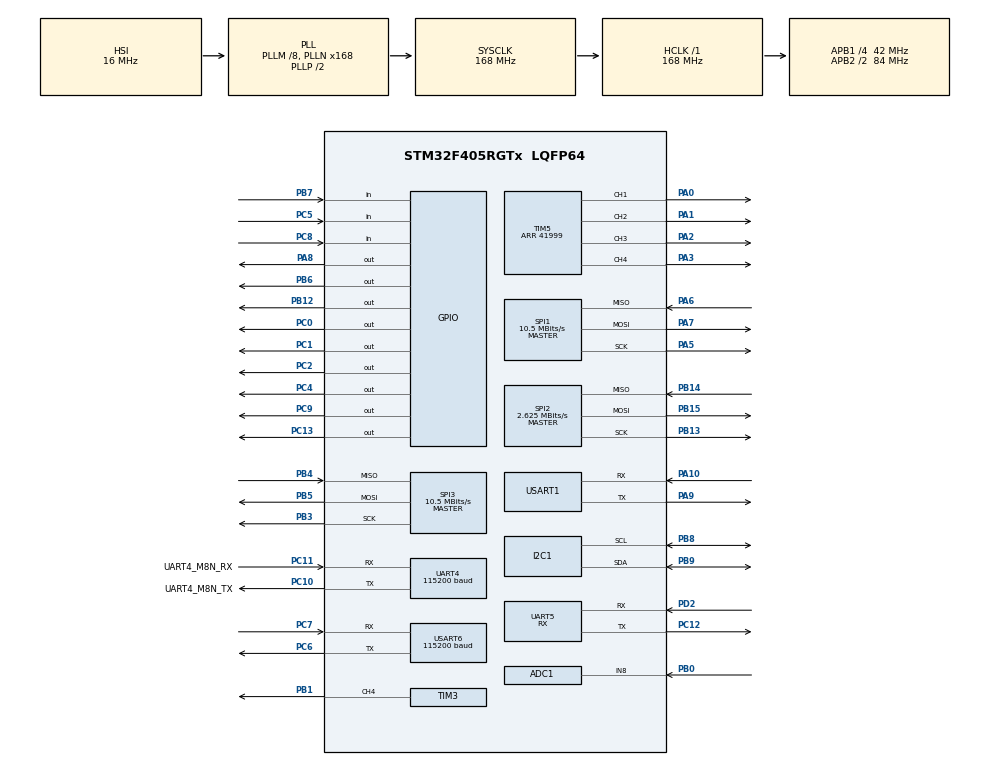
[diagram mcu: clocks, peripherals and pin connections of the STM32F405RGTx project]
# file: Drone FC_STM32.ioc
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ADC1.Channel-0\#ChannelRegularConversion=ADC_CHANNEL_8
ADC1.ClockPrescaler=ADC_CLOCK_SYNC_PCLK_DIV8
ADC1.ContinuousConvMode=ENABLE
ADC1.DMAContinuousRequests=ENABLE
ADC1.NbrOfConversionFlag=1
ADC1.Rank-0\#ChannelRegularConversion=1
ADC1.SamplingTime-0\#ChannelRegularConversion=ADC_SAMPLETIME_480CYCLES
ADC1.master=1
Dma.ADC1.0.Direction=DMA_PERIPH_TO_MEMORY
Dma.ADC1.0.FIFOMode=DMA_FIFOMODE_DISABLE
Dma.ADC1.0.Instance=DMA2_Stream0
Dma.ADC1.0.MemDataAlignment=DMA_MDATAALIGN_HALFWORD
Dma.ADC1.0.MemInc=DMA_MINC_DISABLE
Dma.ADC1.0.Mode=DMA_CIRCULAR
Dma.ADC1.0.PeriphDataAlignment=DMA_PDATAALIGN_HALFWORD
Dma.ADC1.0.PeriphInc=DMA_PINC_DISABLE
Dma.ADC1.0.Priority=DMA_PRIORITY_LOW
Dma.Request0=ADC1
I2C1.I2C_Mode=I2C_Fast
Mcu.Family=STM32F4
Mcu.Name=STM32F405RGTx
Mcu.Package=LQFP64
NVIC.DMA2_Stream0_IRQn=true\:0\:0\:false\:false\:true\:false\:true\:true
NVIC.PriorityGroup=NVIC_PRIORITYGROUP_4
NVIC.TIM7_IRQn=true\:0\:0\:false\:false\:true\:true\:true\:true
NVIC.UART4_IRQn=true\:0\:0\:false\:false\:true\:true\:true\:true
NVIC.UART5_IRQn=true\:0\:0\:false\:false\:true\:true\:true\:true
NVIC.USART1_IRQn=true\:0\:0\:false\:false\:true\:true\:true\:true
NVIC.USART6_IRQn=true\:0\:0\:false\:false\:true\:true\:true\:true
PA0-WKUP.Signal=S_TIM5_CH1
PA1.Signal=S_TIM5_CH2
PA10.Mode=Asynchronous
PA10.Signal=USART1_RX
PA2.Signal=S_TIM5_CH3
PA3.Signal=S_TIM5_CH4
PA5.Mode=Full_Duplex_Master
PA5.Signal=SPI1_SCK
PA6.Mode=Full_Duplex_Master
PA6.Signal=SPI1_MISO
PA7.Mode=Full_Duplex_Master
PA7.Signal=SPI1_MOSI
PA8.Signal=GPIO_Output
PA9.Mode=Asynchronous
PA9.Signal=USART1_TX
PB0.Signal=ADCx_IN8
PB1.Signal=S_TIM3_CH4
PB12.Signal=GPIO_Output
PB13.Mode=Full_Duplex_Master
PB13.Signal=SPI2_SCK
PB14.Mode=Full_Duplex_Master
PB14.Signal=SPI2_MISO
PB15.Mode=Full_Duplex_Master
PB15.Signal=SPI2_MOSI
PB3.Mode=Full_Duplex_Master
PB3.Signal=SPI3_SCK
PB4.Mode=Full_Duplex_Master
PB4.Signal=SPI3_MISO
PB5.Mode=Full_Duplex_Master
PB5.Signal=SPI3_MOSI
PB6.Signal=GPIO_Output
PB7.Signal=GPIO_Input
PB8.Mode=I2C
PB8.Signal=I2C1_SCL
PB9.Mode=I2C
PB9.Signal=I2C1_SDA
PC0.Signal=GPIO_Output
PC1.Signal=GPIO_Output
PC10.GPIO_Label=UART4_M8N_TX
PC10.Mode=Asynchronous
PC10.Signal=UART4_TX
PC11.GPIO_Label=UART4_M8N_RX
PC11.Mode=Asynchronous
PC11.Signal=UART4_RX
PC12.Mode=Asynchronous
PC12.Signal=UART5_TX
PC13-ANTI_TAMP.PinState=GPIO_PIN_SET
PC13-ANTI_TAMP.Signal=GPIO_Output
PC2.Signal=GPIO_Output
PC4.Signal=GPIO_Output
PC5.Signal=GPIO_Input
PC6.Mode=Asynchronous
PC6.Signal=USART6_TX
PC7.Mode=Asynchronous
PC7.Signal=USART6_RX
PC8.Signal=GPIO_Input
PC9.Signal=GPIO_Output
PD2.Mode=Asynchronous
PD2.Signal=UART5_RX
PH0-OSC_IN.Mode=HSE-External-Oscillator
PH0-OSC_IN.Signal=RCC_OSC_IN
PH1-OSC_OUT.Mode=HSE-External-Oscillator
PH1-OSC_OUT.Signal=RCC_OSC_OUT
ProjectManager.HeapSize=0x200
ProjectManager.StackSize=0x400
ProjectManager.TargetToolchain=STM32CubeIDE
RCC.48MHZClocksFreq_Value=84000000
RCC.AHBFreq_Value=168000000
RCC.APB1CLKDivider=RCC_HCLK_DIV4
RCC.APB1Freq_Value=42000000
RCC.APB1TimFreq_Value=84000000
RCC.APB2CLKDivider=RCC_HCLK_DIV2
RCC.APB2Freq_Value=84000000
RCC.APB2TimFreq_Value=168000000
RCC.CortexFreq_Value=168000000
RCC.HCLKFreq_Value=168000000
RCC.HSE_VALUE=8000000
RCC.HSI_VALUE=16000000
RCC.LSE_VALUE=32768
RCC.PLLM=8
RCC.PLLN=168
RCC.SYSCLKFreq_VALUE=168000000
RCC.SYSCLKSource=RCC_SYSCLKSOURCE_PLLCLK
RCC.VCOOutputFreq_Value=336000000
SH.ADCx_IN8.0=ADC1_IN8,IN8
SH.S_TIM3_CH4.0=TIM3_CH4,PWM Generation4 CH4
SH.S_TIM5_CH1.0=TIM5_CH1,PWM Generation1 CH1
SH.S_TIM5_CH2.0=TIM5_CH2,PWM Generation2 CH2
SH.S_TIM5_CH3.0=TIM5_CH3,PWM Generation3 CH3
SH.S_TIM5_CH4.0=TIM5_CH4,PWM Generation4 CH4
SPI1.BaudRatePrescaler=SPI_BAUDRATEPRESCALER_8
SPI1.CLKPhase=SPI_PHASE_2EDGE
SPI1.CLKPolarity=SPI_POLARITY_HIGH
SPI1.CalculateBaudRate=10.5 MBits/s
SPI1.Direction=SPI_DIRECTION_2LINES
SPI1.Mode=SPI_MODE_MASTER
SPI1.VirtualType=VM_MASTER
SPI2.BaudRatePrescaler=SPI_BAUDRATEPRESCALER_16
SPI2.CLKPhase=SPI_PHASE_2EDGE
SPI2.CLKPolarity=SPI_POLARITY_HIGH
SPI2.CalculateBaudRate=2.625 MBits/s
SPI2.Direction=SPI_DIRECTION_2LINES
SPI2.Mode=SPI_MODE_MASTER
SPI2.VirtualType=VM_MASTER
SPI3.BaudRatePrescaler=SPI_BAUDRATEPRESCALER_4
SPI3.CLKPhase=SPI_PHASE_2EDGE
SPI3.CLKPolarity=SPI_POLARITY_HIGH
SPI3.CalculateBaudRate=10.5 MBits/s
SPI3.Direction=SPI_DIRECTION_2LINES
SPI3.Mode=SPI_MODE_MASTER
SPI3.VirtualType=VM_MASTER
TIM3.AutoReloadPreload=TIM_AUTORELOAD_PRELOAD_ENABLE
TIM3.Channel-PWM\ Generation4\ CH4=TIM_CHANNEL_4
TIM3.OCFastMode_PWM-PWM\ Generation4\ CH4=TIM_OCFAST_ENABLE
TIM3.Period=20
TIM3.Prescaler=999
TIM3.Pulse-PWM\ Generation4\ CH4=10
TIM5.AutoReloadPreload=TIM_AUTORELOAD_PRELOAD_ENABLE
TIM5.Channel-PWM\ Generation1\ CH1=TIM_CHANNEL_1
TIM5.Channel-PWM\ Generation2\ CH2=TIM_CHANNEL_2
TIM5.Channel-PWM\ Generation3\ CH3=TIM_CHANNEL_3
TIM5.Channel-PWM\ Generation4\ CH4=TIM_CHANNEL_4
TIM5.OCFastMode_PWM-PWM\ Generation1\ CH1=TIM_OCFAST_ENABLE
TIM5.OCFastMode_PWM-PWM\ Generation2\ CH2=TIM_OCFAST_ENABLE
TIM5.OCFastMode_PWM-PWM\ Generation3\ CH3=TIM_OCFAST_ENABLE
TIM5.OCFastMode_PWM-PWM\ Generation4\ CH4=TIM_OCFAST_ENABLE
TIM5.Period=41999
TIM5.Pulse-PWM\ Generation1\ CH1=0
TIM5.Pulse-PWM\ Generation2\ CH2=0
TIM5.Pulse-PWM\ Generation3\ CH3=0
TIM7.AutoReloadPreload=TIM_AUTORELOAD_PRELOAD_ENABLE
TIM7.Period=1
TIM7.Prescaler=41999
UART4.BaudRate=115200
UART4.VirtualMode=Asynchronous
UART5.Mode=MODE_RX
UART5.VirtualMode=Asynchronous
USART1.VirtualMode=VM_ASYNC
USART6.BaudRate=115200
USART6.VirtualMode=VM_ASYNC
VP_TIM3_VS_ClockSourceINT.Mode=Internal
VP_TIM7_VS_ClockSourceINT.Mode=Enable_Timer
board=custom

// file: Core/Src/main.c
/* USER CODE BEGIN Header */
/**
  ******************************************************************************
  * @file           : main.c
  * @brief          : Main program body
  ******************************************************************************
  * @attention
  *
  * Copyright (c) 2023 STMicroelectronics.
  * All rights reserved.
  *
  * This software is licensed under terms that can be found in the LICENSE file
  * in the root directory of this software component.
  * If no LICENSE file comes with this software, it is provided AS-IS.
  *
  ******************************************************************************
  */
/* USER CODE END Header */
#include "main.h"
#include "adc.h"
#include "dma.h"
#include "i2c.h"
#include "spi.h"
#include "tim.h"
#include "usart.h"
#include "gpio.h"

/* USER CODE BEGIN Includes */
#include "BNO080.h"
#include "Quaternion.h"
#include "ICM20602.h"
#include "LPS22HH.h"
#include "FS-iA6B.h"
#include "AT24C08.h"
#include "M8N.h"
#include <string.h>
#include "PID control.h"
/* USER CODE END Includes */

/* USER CODE BEGIN PTD */

// Send usart6 data to PC
int _write(int file, char* p, int len)
{
	for(int i = 0; i< len ; i++)
	{
		while(!LL_USART_IsActiveFlag_TXE(USART6));
		LL_USART_TransmitData8(USART6, *(p+i));
		//HAL_Delay(1);
	}
	return len;
}
/* USER CODE END PTD */

/* USER CODE BEGIN PV */
extern	uint8_t uart6_rx_flag;
extern	uint8_t uart6_rx_data;

//GPS_UBX protocol
extern uint8_t m8n_rx_buf[36];
extern uint8_t m8n_rx_cplt_flag;

extern	uint8_t ibus_rx_buf[32];
extern	uint8_t ibus_rx_cplt_flag;

//telemetry
extern uint8_t uart1_rx_data;

uint8_t telemetry_tx_buf[40];
uint8_t telemetry_rx_buf[20];
uint8_t telemetry_rx_cplt_flag;

extern uint8_t tim7_1ms_flag;
extern uint8_t tim7_20ms_flag;
extern uint8_t tim7_100ms_flag;
extern uint8_t tim7_1000ms_flag;

float batVolt;

unsigned char failsafe_flag = 0;
unsigned char low_bat_flag = 0;
/* USER CODE END PV */

void SystemClock_Config(void);
/* USER CODE BEGIN PFP */
int Is_iBus_Throttle_Min(void);
void ESC_Calibration(void);
int Is_iBus_Received(void);
void BNO080_Calibration(void);

void Encode_Msg_AHRS(unsigned char* telemetry_tx_buf);
void Encode_Msg_GPS(unsigned char* telemetry_tx_buf);
void Encode_Msg_PID_Gain(unsigned char* telemetry_tx_buf, unsigned char id, float p, float i, float d);
/* USER CODE END PFP */

/* USER CODE BEGIN 0 */
#define X 0.90f
/* USER CODE END 0 */

int main(void)
{
  /* USER CODE BEGIN 1 */
	//BNO080 sensor value
	float q[4];
	float quatRadianAccuracy;
	unsigned short adcVal;

	short gyro_x_offset = 5;
	short gyro_y_offset = 15;
	short gyro_z_offset = -5;

	unsigned char motor_arming_flag = 0;
	unsigned short iBus_SwA_Prev = 0;

	unsigned char iBus_rx_cnt = 0;
	unsigned short ccr1;
	unsigned short ccr2;
	unsigned short ccr3;
	unsigned short ccr4;

	float yaw_heading_reference;

  /* USER CODE END 1 */

  /* MCU Configuration--------------------------------------------------------*/

  /* Reset of all peripherals, Initializes the Flash interface and the Systick. */
  HAL_Init();

  /* Configure the system clock */
  SystemClock_Config();

  /* Initialize all configured peripherals */
  MX_GPIO_Init();
  MX_DMA_Init();
  MX_TIM3_Init();
  MX_USART6_UART_Init();
  MX_SPI2_Init();
  MX_SPI1_Init();
  MX_SPI3_Init();
  MX_UART5_Init();
  MX_TIM5_Init();
  MX_UART4_Init();
  MX_I2C1_Init();
  MX_ADC1_Init();
  MX_USART1_UART_Init();
  MX_TIM7_Init();
  /* USER CODE BEGIN 2 */

  //Peripheral check
  //TIM3 enable
  LL_TIM_EnableCounter(TIM3);

  // USART interrupt setting
  LL_USART_EnableIT_RXNE(USART6);
  LL_USART_EnableIT_RXNE(UART5);

  // USART GPS MODULE interrupt(KSY)
  LL_USART_EnableIT_RXNE(UART4);

  //telemetry
  HAL_UART_Receive_IT(&huart1, &uart1_rx_data, 1);
  //TIM5 enable
  LL_TIM_EnableCounter(TIM5);
  LL_TIM_CC_EnableChannel(TIM5, LL_TIM_CHANNEL_CH1);
  LL_TIM_CC_EnableChannel(TIM5, LL_TIM_CHANNEL_CH2);
  LL_TIM_CC_EnableChannel(TIM5, LL_TIM_CHANNEL_CH3);
  LL_TIM_CC_EnableChannel(TIM5, LL_TIM_CHANNEL_CH4);

  // Battery ADC active
  HAL_ADC_Start_DMA(&hadc1, &adcVal, 1);

  // Telemetry 20ms timer enable
  LL_TIM_EnableCounter(TIM7);
  LL_TIM_EnableIT_UPDATE(TIM7);

  TIM3->PSC = 1000;
  LL_TIM_CC_EnableChannel(TIM3, LL_TIM_CHANNEL_CH4);
  HAL_Delay(60);
  LL_TIM_CC_DisableChannel(TIM3, LL_TIM_CHANNEL_CH4);
  HAL_Delay(60);
  LL_TIM_CC_EnableChannel(TIM3, LL_TIM_CHANNEL_CH4);
  HAL_Delay(60);
  LL_TIM_CC_DisableChannel(TIM3, LL_TIM_CHANNEL_CH4);
  HAL_Delay(60);
  printf("Checking sensor connection...\n");

  //Sensor check
  //BNO080 initialization and check
  if(BNO080_Initialization() != 0)
  {
	  LL_TIM_CC_EnableChannel(TIM3, LL_TIM_CHANNEL_CH4);

	  TIM3->PSC = 2000;
	  HAL_Delay(100);
	  TIM3->PSC = 1500;
	  HAL_Delay(100);
	  TIM3->PSC = 1000;
	  HAL_Delay(100);

	  LL_TIM_CC_DisableChannel(TIM3, LL_TIM_CHANNEL_CH4);

	  printf("\nBNO080 failed. Program shutting down...\n");
	  while(1)
	  {
		  LL_TIM_CC_DisableChannel(TIM3, LL_TIM_CHANNEL_CH4);
		  LL_GPIO_TogglePin(GPIOC, LL_GPIO_PIN_0);
		  HAL_Delay(200);
		  LL_TIM_CC_EnableChannel(TIM3, LL_TIM_CHANNEL_CH4);
		  LL_GPIO_TogglePin(GPIOC, LL_GPIO_PIN_0);
		  HAL_Delay(200);
	  }
  }
  //Rotation vector 400 count per 1 second
  //BNO080_enableRotationVector(2500);
  BNO080_enableGameRotationVector(2500);

  //ICM20602 initialization and check
  if(ICM20602_Initialization() != 0)
  {
	  LL_TIM_CC_EnableChannel(TIM3, LL_TIM_CHANNEL_CH4);

	  TIM3->PSC = 2000;
	  HAL_Delay(100);
	  TIM3->PSC = 1500;
	  HAL_Delay(100);
	  TIM3->PSC = 1000;
	  HAL_Delay(100);

	  LL_TIM_CC_DisableChannel(TIM3, LL_TIM_CHANNEL_CH4);

	  printf("\nICM-20602 failed. Program shutting down...\n");
	  while(1)
	  {
		  LL_TIM_CC_DisableChannel(TIM3, LL_TIM_CHANNEL_CH4);
		  LL_GPIO_TogglePin(GPIOC, LL_GPIO_PIN_1);
		  HAL_Delay(200);
		  LL_TIM_CC_EnableChannel(TIM3, LL_TIM_CHANNEL_CH4);
		  LL_GPIO_TogglePin(GPIOC, LL_GPIO_PIN_1);
		  HAL_Delay(200);
	  }
  }

  //LPS22HH initialization and check
  if(LPS22HH_Initialization() != 0)
  {
	  LL_TIM_CC_EnableChannel(TIM3, LL_TIM_CHANNEL_CH4);

	  TIM3->PSC = 2000;
	  HAL_Delay(100);
	  TIM3->PSC = 1500;
	  HAL_Delay(100);
	  TIM3->PSC = 1000;
	  HAL_Delay(100);

	  LL_TIM_CC_DisableChannel(TIM3, LL_TIM_CHANNEL_CH4);

	  printf("\nLPS22HH failed. Program shutting down...\n");
	  while(1)
	  {
		  LL_TIM_CC_DisableChannel(TIM3, LL_TIM_CHANNEL_CH4);
		  LL_GPIO_TogglePin(GPIOC, LL_GPIO_PIN_2);
		  HAL_Delay(200);
		  LL_TIM_CC_EnableChannel(TIM3, LL_TIM_CHANNEL_CH4);
		  LL_GPIO_TogglePin(GPIOC, LL_GPIO_PIN_2);
		  HAL_Delay(200);
	  }
  }

  printf("All sensors OK!\n\n");

  //Called GPS_M8N_setting_initialization from M8N.h file
  M8N_Initialization();

  // ICM20602 offset x voltage remove
  ICM20602_Writebyte(0x13, (gyro_x_offset*-2)>>8);
  ICM20602_Writebyte(0x14, (gyro_x_offset*-2));

  // ICM20602 offset y Voltage remove
  ICM20602_Writebyte(0x15, (gyro_y_offset*-2)>>8);
  ICM20602_Writebyte(0x16, (gyro_y_offset*-2));

  // ICM20602 offset z Voltage remove
  ICM20602_Writebyte(0x17, (gyro_z_offset*-2)>>8);
  ICM20602_Writebyte(0x18, (gyro_z_offset*-2));

  printf("Loading PID Gain...\n");

  if(EP_PIDGain_Read(0, &roll.in.kp, &roll.in.ki, &roll.in.kd) != 0 ||
		  EP_PIDGain_Read(1, &roll.out.kp, &roll.out.ki, &roll.out.kd) != 0 ||
		  EP_PIDGain_Read(2, &pitch.in.kp, &pitch.in.ki, &pitch.in.kd) != 0 ||
		  EP_PIDGain_Read(3, &pitch.out.kp, &pitch.out.ki, &pitch.out.kd) != 0 ||
		  EP_PIDGain_Read(4, &yaw_heading.kp, &yaw_heading.ki, &yaw_heading.kd) != 0 ||
		  EP_PIDGain_Read(5, &yaw_rate.kp, &yaw_rate.ki, &yaw_rate.kd) != 0)
  {
	  LL_TIM_CC_EnableChannel(TIM3, LL_TIM_CHANNEL_CH4);

	  TIM3->PSC = 2000;
	  HAL_Delay(100);
	  TIM3->PSC = 1500;
	  HAL_Delay(100);
	  TIM3->PSC = 1000;
	  HAL_Delay(100);

	  LL_TIM_CC_DisableChannel(TIM3, LL_TIM_CHANNEL_CH4);

	  HAL_Delay(500);
	  printf("\nCouldn't load PID Gain.\n");
  }
  else
  {
	  // Read gain
	  Encode_Msg_PID_Gain(&telemetry_tx_buf[0], 0, roll.in.kp, roll.in.ki, roll.in.kd);
	  HAL_UART_Transmit(&huart1, &telemetry_tx_buf[0], 20, 10);
	  Encode_Msg_PID_Gain(&telemetry_tx_buf[0], 1, roll.out.kp, roll.out.ki, roll.out.kd);
	  HAL_UART_Transmit(&huart1, &telemetry_tx_buf[0], 20, 10);
	  Encode_Msg_PID_Gain(&telemetry_tx_buf[0], 2, pitch.in.kp, pitch.in.ki, pitch.in.kd);
	  HAL_UART_Transmit(&huart1, &telemetry_tx_buf[0], 20, 10);
	  Encode_Msg_PID_Gain(&telemetry_tx_buf[0], 3, pitch.out.kp, pitch.out.ki, pitch.out.kd);
	  HAL_UART_Transmit(&huart1, &telemetry_tx_buf[0], 20, 10);
	  Encode_Msg_PID_Gain(&telemetry_tx_buf[0], 4, yaw_heading.kp, yaw_heading.ki, yaw_heading.kd);
	  HAL_UART_Transmit(&huart1, &telemetry_tx_buf[0], 20, 10);
	  Encode_Msg_PID_Gain(&telemetry_tx_buf[0], 5, yaw_rate.kp, yaw_rate.ki, yaw_rate.kd);
	  HAL_UART_Transmit(&huart1, &telemetry_tx_buf[0], 20, 10);
	  printf("\nAll GAINS OK!\n\n");
  }

  // iBus input check
  while(Is_iBus_Received() == 0)
  {
	  LL_TIM_CC_EnableChannel(TIM3, LL_TIM_CHANNEL_CH4);

	  TIM3->PSC = 3000;
	  HAL_Delay(200);

	  LL_TIM_CC_DisableChannel(TIM3, LL_TIM_CHANNEL_CH4);
	  HAL_Delay(200);
  }

  // ESC calibration Mode
  if(iBus.SwC == 2000)
  {
	  LL_TIM_CC_EnableChannel(TIM3, LL_TIM_CHANNEL_CH4);

	  TIM3->PSC = 1500;
	  HAL_Delay(200);
	  TIM3->PSC = 2000;
	  HAL_Delay(200);

	  TIM3->PSC = 1500;
	  HAL_Delay(200);
	  TIM3->PSC = 2000;
	  HAL_Delay(200);

	  LL_TIM_CC_DisableChannel(TIM3, LL_TIM_CHANNEL_CH4);

	  // ESC calibration
	  ESC_Calibration();

	  // FS-i6 SwC check
	  while(iBus.SwC != 1000)
	  {
		  Is_iBus_Received();

		  LL_TIM_CC_EnableChannel(TIM3, LL_TIM_CHANNEL_CH4);

		  TIM3->PSC = 1500;
		  HAL_Delay(200);
		  TIM3->PSC = 2000;
		  HAL_Delay(200);

		  LL_TIM_CC_DisableChannel(TIM3, LL_TIM_CHANNEL_CH4);
	  }
  }
  // BNO080 calibration Mode
  else if(iBus.SwC == 1500)
  {
	  LL_TIM_CC_EnableChannel(TIM3, LL_TIM_CHANNEL_CH4);

	  TIM3->PSC = 1500;
	  HAL_Delay(200);
	  TIM3->PSC = 2000;
	  HAL_Delay(200);

	  TIM3->PSC = 1500;
	  HAL_Delay(200);
	  TIM3->PSC = 2000;
	  HAL_Delay(200);

	  LL_TIM_CC_DisableChannel(TIM3, LL_TIM_CHANNEL_CH4);

	  // BNO080 calibration
	  BNO080_Calibration();

	  // FS-i6 SwC check
	  while(iBus.SwC != 1000)
	  {
		  Is_iBus_Received();

		  LL_TIM_CC_EnableChannel(TIM3, LL_TIM_CHANNEL_CH4);

		  TIM3->PSC = 1500;
		  HAL_Delay(200);
		  TIM3->PSC = 2000;
		  HAL_Delay(200);

		  LL_TIM_CC_DisableChannel(TIM3, LL_TIM_CHANNEL_CH4);
	  }
  }
  // Motor safety setting
  while(Is_iBus_Throttle_Min() == 0 || iBus.SwA == 2000)
  {
	  LL_TIM_CC_EnableChannel(TIM3, LL_TIM_CHANNEL_CH4);

	  TIM3->PSC = 1000;
	  HAL_Delay(70);

	  LL_TIM_CC_DisableChannel(TIM3, LL_TIM_CHANNEL_CH4);
	  HAL_Delay(70);
  }

  //TIM3 enable
  LL_TIM_CC_EnableChannel(TIM3, LL_TIM_CHANNEL_CH4);

  TIM3->PSC = 2000;
  HAL_Delay(100);
  TIM3->PSC = 1500;
  HAL_Delay(100);
  TIM3->PSC = 1000;
  HAL_Delay(100);

  //TIM3 disable
  LL_TIM_CC_DisableChannel(TIM3, LL_TIM_CHANNEL_CH4);

  printf("Start\n");

  /* USER CODE END 2 */

  /* Infinite loop */
  while (1)
  {

    /* USER CODE BEGIN 3 */
	  if(tim7_1ms_flag ==1)
	  {
		  tim7_1ms_flag = 0;

		  Double_Roll_Pitch_PID_Calculation(&pitch, (iBus.RV - 1500) * 0.1f, BNO080_Pitch, ICM20602.gyro_x);
		  Double_Roll_Pitch_PID_Calculation(&roll, (iBus.RH - 1500) * 0.1f, BNO080_Roll, ICM20602.gyro_y);

		  if(iBus.LV < 1030 || motor_arming_flag == 0)
		  {
			  Reset_All_PID_Integrator();
		  }

		  if(iBus.LH < 1485 || iBus.LH > 1515)
		  {
			  yaw_heading_reference = BNO080_Yaw;
			  Single_Yaw_Rate_PID_Calculation(&yaw_rate, (iBus.LH - 1500), ICM20602.gyro_z);

			  ccr1 = 10500 + 500 + (iBus.LV - 1000) * 10 - pitch.in.pid_result + roll.in.pid_result - yaw_rate.pid_result;
			  ccr2 = 10500 + 500 + (iBus.LV - 1000) * 10 + pitch.in.pid_result + roll.in.pid_result + yaw_rate.pid_result;
			  ccr3 = 10500 + 500 + (iBus.LV - 1000) * 10 + pitch.in.pid_result - roll.in.pid_result - yaw_rate.pid_result;
			  ccr4 = 10500 + 500 + (iBus.LV - 1000) * 10 - pitch.in.pid_result - roll.in.pid_result + yaw_rate.pid_result;
		  }
		  else
		  {
			  Single_Yaw_Heading_PID_Calculation(&yaw_heading, yaw_heading_reference, BNO080_Yaw, ICM20602.gyro_z);

			  ccr1 = 10500 + 500 + (iBus.LV - 1000) * 10 - pitch.in.pid_result + roll.in.pid_result - yaw_heading.pid_result;
			  ccr2 = 10500 + 500 + (iBus.LV - 1000) * 10 + pitch.in.pid_result + roll.in.pid_result + yaw_heading.pid_result;
			  ccr3 = 10500 + 500 + (iBus.LV - 1000) * 10 + pitch.in.pid_result - roll.in.pid_result - yaw_heading.pid_result;
			  ccr4 = 10500 + 500 + (iBus.LV - 1000) * 10 - pitch.in.pid_result - roll.in.pid_result + yaw_heading.pid_result;
		  }

		  //printf("%f\t%f\n",BNO080_Pitch, ICM20602.gyro_x);
		  //printf("%f\t%f\n",BNO080_Roll, ICM20602.gyro_y);
		  //printf("%f\t%f\n",BNO080_Yaw, ICM20602.gyro_z);
	  }

	  if(iBus.SwA == 2000 && iBus_SwA_Prev != 2000)
	  {
		  if(iBus.LV < 1020)
		  {
			  motor_arming_flag = 1;

			  yaw_heading_reference = BNO080_Yaw;
		  }
		  else
		  {
			  while(Is_iBus_Throttle_Min() == 0 || iBus.SwA == 2000)
			  {
				  LL_TIM_CC_EnableChannel(TIM3, LL_TIM_CHANNEL_CH4);

				  TIM3->PSC = 1000;
				  HAL_Delay(70);

				  LL_TIM_CC_DisableChannel(TIM3, LL_TIM_CHANNEL_CH4);
				  HAL_Delay(70);
			  }
		  }
	  }

	  iBus_SwA_Prev = iBus.SwA;

	  if(iBus.SwA != 2000)
	  {
		  motor_arming_flag = 0;
	  }

	  if(motor_arming_flag == 1)
	  {
		  if(failsafe_flag == 0)
		  {
			  if(iBus.LV > 1030)
			  {
				  TIM5->CCR1 = ccr1 > 21000 ? 21000 : ccr1 < 11000 ? 11000 : ccr1;
				  TIM5->CCR2 = ccr2 > 21000 ? 21000 : ccr2 < 11000 ? 11000 : ccr2;
				  TIM5->CCR3 = ccr3 > 21000 ? 21000 : ccr3 < 11000 ? 11000 : ccr3;
				  TIM5->CCR4 = ccr4 > 21000 ? 21000 : ccr4 < 11000 ? 11000 : ccr4;
			  }
			  else
			  {
				  TIM5->CCR1 = 11000;
				  TIM5->CCR2 = 11000;
				  TIM5->CCR3 = 11000;
				  TIM5->CCR4 = 11000;
			  }

		  }
		  else
		  {
			  TIM5->CCR1 = 10500;
			  TIM5->CCR2 = 10500;
			  TIM5->CCR3 = 10500;
			  TIM5->CCR4 = 10500;
		  }
	  }
	  else
	  {
		  TIM5->CCR1 = 10500;
		  TIM5->CCR2 = 10500;
		  TIM5->CCR3 = 10500;
		  TIM5->CCR4 = 10500;
	  }

	  // Telemetry PID GAIN request
	  if(telemetry_rx_cplt_flag == 1)
	  {
		  telemetry_rx_cplt_flag = 0;

		  if(iBus.SwA == 1000)
		  {
			  unsigned char check_sum = 0xff;
			  for(int i = 0; i< 19; i++)
				  check_sum = check_sum - telemetry_rx_buf[i];

				  if(check_sum == telemetry_rx_buf[19])
				  {
					  LL_TIM_CC_EnableChannel(TIM3, LL_TIM_CHANNEL_CH4);

					  TIM3->PSC = 1000;
					  HAL_Delay(100);

					  //TIM3 disable
					  LL_TIM_CC_DisableChannel(TIM3, LL_TIM_CHANNEL_CH4);

					  switch(telemetry_rx_buf[2])
					  {
					  case 0:
						  roll.in.kp = *(float*)&telemetry_rx_buf[3];
						  roll.in.ki = *(float*)&telemetry_rx_buf[7];
						  roll.in.kd = *(float*)&telemetry_rx_buf[11];
						  EP_PIDGain_Write(telemetry_rx_buf[2], roll.in.kp, roll.in.ki, roll.in.kd);
						  EP_PIDGain_Read(telemetry_rx_buf[2], &roll.in.kp, &roll.in.ki, &roll.in.kd);
						  Encode_Msg_PID_Gain(&telemetry_tx_buf[0], telemetry_rx_buf[2], roll.in.kp, roll.in.ki, roll.in.kd);
						  HAL_UART_Transmit_IT(&huart1, telemetry_tx_buf[0], 20);
						  break;
					  case 1:
						  roll.out.kp = *(float*)&telemetry_rx_buf[3];
						  roll.out.ki = *(float*)&telemetry_rx_buf[7];
						  roll.out.kd = *(float*)&telemetry_rx_buf[11];
						  EP_PIDGain_Write(telemetry_rx_buf[2], roll.out.kp, roll.out.ki, roll.out.kd);
						  EP_PIDGain_Read(telemetry_rx_buf[2], &roll.out.kp, &roll.out.ki, &roll.out.kd);
						  Encode_Msg_PID_Gain(&telemetry_tx_buf[0], telemetry_rx_buf[2], roll.out.kp, roll.out.ki, roll.out.kd);
						  HAL_UART_Transmit_IT(&huart1, telemetry_tx_buf[0], 20);
						  break;
					  case 2:
						  pitch.in.kp = *(float*)&telemetry_rx_buf[3];
						  pitch.in.ki = *(float*)&telemetry_rx_buf[7];
						  pitch.in.kd = *(float*)&telemetry_rx_buf[11];
						  EP_PIDGain_Write(telemetry_rx_buf[2], pitch.in.kp, pitch.in.ki, pitch.in.kd);
						  EP_PIDGain_Read(telemetry_rx_buf[2], &pitch.in.kp, &pitch.in.ki, &pitch.in.kd);
						  Encode_Msg_PID_Gain(&telemetry_tx_buf[0], telemetry_rx_buf[2], pitch.in.kp, pitch.in.ki, pitch.in.kd);
						  HAL_UART_Transmit_IT(&huart1, telemetry_tx_buf[0], 20);
						  break;
					  case 3:
						  pitch.out.kp = *(float*)&telemetry_rx_buf[3];
						  pitch.out.ki = *(float*)&telemetry_rx_buf[7];
						  pitch.out.kd = *(float*)&telemetry_rx_buf[11];
						  EP_PIDGain_Write(telemetry_rx_buf[2], pitch.out.kp, pitch.out.ki, pitch.out.kd);
						  EP_PIDGain_Read(telemetry_rx_buf[2], &pitch.out.kp, &pitch.out.ki, &pitch.out.kd);
						  Encode_Msg_PID_Gain(&telemetry_tx_buf[0], telemetry_rx_buf[2], pitch.out.kp, pitch.out.ki, pitch.out.kd);
						  HAL_UART_Transmit_IT(&huart1, telemetry_tx_buf[0], 20);
						  break;
					  case 4:
						  yaw_heading.kp = *(float*)&telemetry_rx_buf[3];
						  yaw_heading.ki = *(float*)&telemetry_rx_buf[7];
						  yaw_heading.kd = *(float*)&telemetry_rx_buf[11];
						  EP_PIDGain_Write(telemetry_rx_buf[2], yaw_heading.kp, yaw_heading.ki, yaw_heading.kd);
						  EP_PIDGain_Read(telemetry_rx_buf[2], &yaw_heading.kp, &yaw_heading.ki, &yaw_heading.kd);
						  Encode_Msg_PID_Gain(&telemetry_tx_buf[0], telemetry_rx_buf[2], yaw_heading.kp, yaw_heading.ki, yaw_heading.kd);
						  HAL_UART_Transmit_IT(&huart1, telemetry_tx_buf[0], 20);
						  break;
					  case 5:
						  yaw_rate.kp = *(float*)&telemetry_rx_buf[3];
						  yaw_rate.ki = *(float*)&telemetry_rx_buf[7];
						  yaw_rate.kd = *(float*)&telemetry_rx_buf[11];
						  EP_PIDGain_Write(telemetry_rx_buf[2], yaw_rate.kp, yaw_rate.ki, yaw_rate.kd);
						  EP_PIDGain_Read(telemetry_rx_buf[2], &yaw_rate.kp, &yaw_rate.ki, &yaw_rate.kd);
						  Encode_Msg_PID_Gain(&telemetry_tx_buf[0], telemetry_rx_buf[2], yaw_rate.kp, yaw_rate.ki, yaw_rate.kd);
						  HAL_UART_Transmit_IT(&huart1, telemetry_tx_buf[0], 20);
						  break;
					  case 0x10:
						  switch(telemetry_rx_buf[3])
						  {
						  case 0:
							  Encode_Msg_PID_Gain(&telemetry_tx_buf[0], telemetry_rx_buf[3], roll.in.kp, roll.in.ki, roll.in.kd);
							  HAL_UART_Transmit(&huart1, &telemetry_tx_buf[0], 20, 10);
							  break;
						  case 1:
							  Encode_Msg_PID_Gain(&telemetry_tx_buf[0], telemetry_rx_buf[3], roll.out.kp, roll.out.ki, roll.out.kd);
							  HAL_UART_Transmit(&huart1, &telemetry_tx_buf[0], 20, 10);
							  break;
						  case 2:
							  Encode_Msg_PID_Gain(&telemetry_tx_buf[0], telemetry_rx_buf[3], pitch.in.kp, pitch.in.ki, pitch.in.kd);
							  HAL_UART_Transmit(&huart1, &telemetry_tx_buf[0], 20, 10);
							  break;
						  case 3:
							  Encode_Msg_PID_Gain(&telemetry_tx_buf[0], telemetry_rx_buf[3], pitch.out.kp, pitch.out.ki, pitch.out.kd);
							  HAL_UART_Transmit(&huart1, &telemetry_tx_buf[0], 20, 10);
							  break;
						  case 4:
							  Encode_Msg_PID_Gain(&telemetry_tx_buf[0], telemetry_rx_buf[3], yaw_heading.kp, yaw_heading.ki, yaw_heading.kd);
							  HAL_UART_Transmit(&huart1, &telemetry_tx_buf[0], 20, 10);
							  break;
						  case 5:
							  Encode_Msg_PID_Gain(&telemetry_tx_buf[0], telemetry_rx_buf[3], yaw_rate.kp, yaw_rate.ki, yaw_rate.kd);
							  HAL_UART_Transmit(&huart1, &telemetry_tx_buf[0], 20, 10);
							  break;
						  case 6:
							  Encode_Msg_PID_Gain(&telemetry_tx_buf[0], 0, roll.in.kp, roll.in.ki, roll.in.kd);
							  HAL_UART_Transmit(&huart1, &telemetry_tx_buf[0], 20, 10);
							  Encode_Msg_PID_Gain(&telemetry_tx_buf[0], 1, roll.out.kp, roll.out.ki, roll.out.kd);
							  HAL_UART_Transmit(&huart1, &telemetry_tx_buf[0], 20, 10);
							  Encode_Msg_PID_Gain(&telemetry_tx_buf[0], 2, pitch.in.kp, pitch.in.ki, pitch.in.kd);
							  HAL_UART_Transmit(&huart1, &telemetry_tx_buf[0], 20, 10);
							  Encode_Msg_PID_Gain(&telemetry_tx_buf[0], 3, pitch.out.kp, pitch.out.ki, pitch.out.kd);
							  HAL_UART_Transmit(&huart1, &telemetry_tx_buf[0], 20, 10);
							  Encode_Msg_PID_Gain(&telemetry_tx_buf[0], 4, yaw_heading.kp, yaw_heading.ki, yaw_heading.kd);
							  HAL_UART_Transmit(&huart1, &telemetry_tx_buf[0], 20, 10);
							  Encode_Msg_PID_Gain(&telemetry_tx_buf[0], 5, yaw_rate.kp, yaw_rate.ki, yaw_rate.kd);
							  HAL_UART_Transmit(&huart1, &telemetry_tx_buf[0], 20, 10);
							  break;
						  }
						  break;
					  }
				  }

		  }
	  }

	  //telemetry_transmit
	  if(tim7_20ms_flag ==1 && tim7_100ms_flag != 1)
	  {
		tim7_20ms_flag = 0;

		Encode_Msg_AHRS(&telemetry_tx_buf[0]);

		//HAL_UART_Transmit(&huart1, &telemetry_tx_buf[0], 20, 20);
		//HAL_Delay(15);

		//telemetry final UART1 PORT Transmit(20bytes)
		//nonblocking mode
		HAL_UART_Transmit_IT(&huart1, &telemetry_tx_buf[0], 20);
	  }

	  else if(tim7_20ms_flag == 1 && tim7_100ms_flag == 1)
	  {
		  tim7_20ms_flag = 0;
		  tim7_100ms_flag = 0;

		  Encode_Msg_AHRS(&telemetry_tx_buf[0]);
		  Encode_Msg_GPS(&telemetry_tx_buf[20]);

		  //telemetry final UART1 PORT Transmit(20bytes)
		  //nonblocking mode
		  HAL_UART_Transmit_IT(&huart1, &telemetry_tx_buf[0], 40);

	  }

	  // Battery check value
	  batVolt = adcVal * 0.003619f;
	  //printf("%d\t %.2f\n", adcVal, batVolt);
	  //HAL_Delay(100);

	  // Battery check
	  if(batVolt < 11.2f)
	  {
		  low_bat_flag = 1;
	  }
	  else
	  {
		  low_bat_flag = 0;
	  }

	  //BNO080 data transmission
	  if(BNO080_dataAvailable() == 1)
	  {
		  LL_GPIO_TogglePin(GPIOC, LL_GPIO_PIN_0);

		  q[0] = BNO080_getQuatI();
		  q[1] = BNO080_getQuatJ();
		  q[2] = BNO080_getQuatK();
		  q[3] = BNO080_getQuatReal();
		  quatRadianAccuracy =BNO080_getQuatAccuracy();

		  Quaternion_Update(&q[0]);

		  BNO080_Roll = -BNO080_Roll;
		  BNO080_Pitch = -BNO080_Pitch;
		  //printf("%d,%d,%d\n", (int)(BNO080_Roll*100),(int)(BNO080_Pitch*100),(int)(BNO080_Yaw*100));
		  //printf("%.2f\t%.2f\t\n", BNO080_Roll, BNO080_Pitch);
		  //printf("%.2f\t", BNO080_Yaw);
	  }

	  //ICM20602 data transmission
	  if(ICM20602_DataReady() == 1)
	  {
		  LL_GPIO_TogglePin(GPIOC, LL_GPIO_PIN_1);

		  ICM20602_Get3AxisGyroRawData(&ICM20602.gyro_x_raw);

		  ICM20602.gyro_x = ICM20602.gyro_x_raw * 2000.f / 32768.f;
		  ICM20602.gyro_y = ICM20602.gyro_y_raw * 2000.f / 32768.f;
		  ICM20602.gyro_z = ICM20602.gyro_z_raw * 2000.f / 32768.f;

		  ICM20602.gyro_x = -ICM20602.gyro_x;
		  ICM20602.gyro_z = -ICM20602.gyro_z;
		  //printf("%d,%d,%d\n",(int)(ICM20602.gyro_x_raw),(int)(ICM20602.gyro_y_raw),(int)(ICM20602.gyro_z_raw));
		  //printf("%d,%d,%d\n",(int)(ICM20602.gyro_x * 100),(int)(ICM20602.gyro_y * 100),(int)(ICM20602.gyro_z * 100));
	  }

	  	//LPS22HH data transmission
		if(LPS22HH_DataReady() == 1)
		{
			LPS22HH_GetPressure(&LPS22HH.pressure_raw);
			LPS22HH_GetTemperature(&LPS22HH.temperature_raw);

			LPS22HH.baroAlt = getAltitude2(LPS22HH.pressure_raw/4096.f, LPS22HH.temperature_raw/100.f);

			//first pressure filter
			LPS22HH.baroAltFilt = LPS22HH.baroAltFilt * X +LPS22HH.baroAlt * (1.0f - X);
			//printf("%d,%d\n",(int)(LPS22HH.baroAlt * 100), (int)(LPS22HH.baroAltFilt * 100));
		}

	  //If GPS_UBX data[36 byte] completely, LED of FC is toggle
	  //M8N_UBX_NAV_POSLLH_Parsing that functions contained in the file M8N.h
	  if(m8n_rx_cplt_flag == 1)
	  {
		  m8n_rx_cplt_flag = 0;

		  if(M8N_UBX_CHKSUM_Check(&m8n_rx_buf[0], 36) == 1)
		  {
			  LL_GPIO_TogglePin(GPIOC, LL_GPIO_PIN_2);
			  M8N_UBX_NAV_POSLLH_Parsing(&m8n_rx_buf[0], &posllh);

			  //printf("LAT: %ld\t LON: %ld\t Height: %ld\t hAcc: %ld\t vAcc: %ld \r\n", posllh.lat, posllh.lon, posllh.height, posllh.hAcc, posllh.vAcc);
		  }
	  }

	  // iBus all transmission data check
	  if(ibus_rx_cplt_flag == 1)
	  {
		  ibus_rx_cplt_flag = 0;

		  // iBus CHECK SUM data check
		  if(iBus_Check_CHECKSUM(&ibus_rx_buf[0], 32) == 1)
		  {
			  //LL_GPIO_TogglePin(GPIOC, LL_GPIO_PIN_2);

			  iBus_Parsing(&ibus_rx_buf[0], &iBus);
			  iBus_rx_cnt++;

			  if(iBus_isActiveFailsafe(&iBus) == 1)
			  {
				  LL_TIM_CC_EnableChannel(TIM3, LL_TIM_CHANNEL_CH4);
				  //LL_GPIO_TogglePin(GPIOC, LL_GPIO_PIN_2);
				  failsafe_flag = 1;
			  }
			  else
			  {
				  LL_TIM_CC_DisableChannel(TIM3, LL_TIM_CHANNEL_CH4);
				  //LL_GPIO_TogglePin(GPIOC, LL_GPIO_PIN_1);
				  failsafe_flag = 0;
			  }

			  // FS-i6 output data check
			  //printf("%d\t%d\t%d\t%d\t%d\t%d\n",
					  //iBus.RH, iBus.RV, iBus.LV, iBus.LH, iBus.SwA, iBus.SwC);
			  //HAL_Delay(30);
		  }
	  }

	  if(tim7_1000ms_flag == 1)
	  {
		  tim7_1000ms_flag = 0;
		  if(iBus_rx_cnt == 0)
		  {
			  failsafe_flag = 2;
		  }
		  iBus_rx_cnt = 0;
	  }
	  //if(failsafe_flag == 1 || failsafe_flag == 2 || low_bat_flag == 1 || iBus.SwC == 2000)
	  if(failsafe_flag == 1 || failsafe_flag == 2 || iBus.SwC == 2000)
	  {
		  LL_TIM_CC_EnableChannel(TIM3, LL_TIM_CHANNEL_CH4);
	  }
	  else
	  {
		  LL_TIM_CC_DisableChannel(TIM3, LL_TIM_CHANNEL_CH4);
	  }
  }
  /* USER CODE END 3 */
}

void SystemClock_Config(void)
{
  RCC_OscInitTypeDef RCC_OscInitStruct = {0};
  RCC_ClkInitTypeDef RCC_ClkInitStruct = {0};

  /** Configure the main internal regulator output voltage
  */
  __HAL_RCC_PWR_CLK_ENABLE();
  __HAL_PWR_VOLTAGESCALING_CONFIG(PWR_REGULATOR_VOLTAGE_SCALE1);

  /** Initializes the RCC Oscillators according to the specified parameters
  * in the RCC_OscInitTypeDef structure.
  */
  RCC_OscInitStruct.OscillatorType = RCC_OSCILLATORTYPE_HSI;
  RCC_OscInitStruct.HSIState = RCC_HSI_ON;
  RCC_OscInitStruct.HSICalibrationValue = RCC_HSICALIBRATION_DEFAULT;
  RCC_OscInitStruct.PLL.PLLState = RCC_PLL_ON;
  RCC_OscInitStruct.PLL.PLLSource = RCC_PLLSOURCE_HSI;
  RCC_OscInitStruct.PLL.PLLM = 8;
  RCC_OscInitStruct.PLL.PLLN = 168;
  RCC_OscInitStruct.PLL.PLLP = RCC_PLLP_DIV2;
  RCC_OscInitStruct.PLL.PLLQ = 4;
  if (HAL_RCC_OscConfig(&RCC_OscInitStruct) != HAL_OK)
  {
    Error_Handler();
  }

  /** Initializes the CPU, AHB and APB buses clocks
  */
  RCC_ClkInitStruct.ClockType = RCC_CLOCKTYPE_HCLK|RCC_CLOCKTYPE_SYSCLK
                              |RCC_CLOCKTYPE_PCLK1|RCC_CLOCKTYPE_PCLK2;
  RCC_ClkInitStruct.SYSCLKSource = RCC_SYSCLKSOURCE_PLLCLK;
  RCC_ClkInitStruct.AHBCLKDivider = RCC_SYSCLK_DIV1;
  RCC_ClkInitStruct.APB1CLKDivider = RCC_HCLK_DIV4;
  RCC_ClkInitStruct.APB2CLKDivider = RCC_HCLK_DIV2;

  if (HAL_RCC_ClockConfig(&RCC_ClkInitStruct, FLASH_LATENCY_5) != HAL_OK)
  {
    Error_Handler();
  }
}

/* USER CODE BEGIN 4 */
// Motor safety mode function
int Is_iBus_Throttle_Min(void)
{
	if(ibus_rx_cplt_flag == 1)
	{
		ibus_rx_cplt_flag = 0;

		// iBus CHECK SUM data check
		if(iBus_Check_CHECKSUM(&ibus_rx_buf[0], 32) == 1)
		{
			iBus_Parsing(&ibus_rx_buf[0], &iBus);
			// Motor settings for safety
			if(iBus.LV < 1020)
				return 1;
		}
	}

	// If iBus data is not received, return is 0
	return 0;
}

// ESC calibration function
void ESC_Calibration(void)
{
	//ESC Calibration mode start
	//------------------------
	TIM5->CCR1 = 21000;
	TIM5->CCR2 = 21000;
	TIM5->CCR3 = 21000;
	TIM5->CCR4 = 21000;
	HAL_Delay(7000);

	TIM5->CCR1 = 10500;
	TIM5->CCR2 = 10500;
	TIM5->CCR3 = 10500;
	TIM5->CCR4 = 10500;
	HAL_Delay(8000);
	//------------------------
	//ESC Calibration mode end
}

// iBus input data check function
int Is_iBus_Received(void)
{
	if(ibus_rx_cplt_flag == 1)
	{
		ibus_rx_cplt_flag = 0;

		// iBus CHECK SUM data check
		if(iBus_Check_CHECKSUM(&ibus_rx_buf[0], 32) == 1)
		{
			iBus_Parsing(&ibus_rx_buf[0], &iBus);
			return 1;
		}
	}

	// If iBus data is not received, return is 0
	return 0;
}

void BNO080_Calibration(void)
{
	//Resets BNO080 to disable All output
	BNO080_Initialization();

	//BNO080/BNO085 Configuration
	//Enable dynamic calibration for accelerometer, gyroscope, and magnetometer
	//Enable Game Rotation Vector output
	//Enable Magnetic Field output
	BNO080_calibrateAll(); //Turn on cal for Accel, Gyro, and Mag
	BNO080_enableGameRotationVector(20000); //Send data update every 20ms (50Hz)
	BNO080_enableMagnetometer(20000); //Send data update every 20ms (50Hz)

	//Once magnetic field is 2 or 3, run the Save DCD Now command
  	printf("Calibrating BNO080. Pull up FS-i6 SWC to end calibration and save to flash\n");
  	printf("Output in form x, y, z, in uTesla\n\n");

	//while loop for calibration procedure
	//Iterates until iBus.SwC is mid point (1500)
	//Calibration procedure should be done while this loop is in iteration.
	while(iBus.SwC == 1500)
	{
		if(BNO080_dataAvailable() == 1)
		{
			//Observing the status bit of the magnetic field output
			float x = BNO080_getMagX();
			float y = BNO080_getMagY();
			float z = BNO080_getMagZ();
			unsigned char accuracy = BNO080_getMagAccuracy();

			float quatI = BNO080_getQuatI();
			float quatJ = BNO080_getQuatJ();
			float quatK = BNO080_getQuatK();
			float quatReal = BNO080_getQuatReal();
			unsigned char sensorAccuracy = BNO080_getQuatAccuracy();

			printf("%f,%f,%f,", x, y, z);
			if (accuracy == 0) printf("Unreliable\t");
			else if (accuracy == 1) printf("Low\t");
			else if (accuracy == 2) printf("Medium\t");
			else if (accuracy == 3) printf("High\t");

			printf("\t%f,%f,%f,%f,", quatI, quatI, quatI, quatReal);
			if (sensorAccuracy == 0) printf("Unreliable\n");
			else if (sensorAccuracy == 1) printf("Low\n");
			else if (sensorAccuracy == 2) printf("Medium\n");
			else if (sensorAccuracy == 3) printf("High\n");

			//Turn the LED and buzzer on when both accuracy and sensorAccuracy is high
			if(accuracy == 3 && sensorAccuracy == 3)
			{
				LL_GPIO_SetOutputPin(GPIOC, LL_GPIO_PIN_0 | LL_GPIO_PIN_1 | LL_GPIO_PIN_2);
				TIM3->PSC = 65000; //Very low frequency
				LL_TIM_CC_EnableChannel(TIM3, LL_TIM_CHANNEL_CH4);
			}
			else
			{
				LL_GPIO_ResetOutputPin(GPIOC, LL_GPIO_PIN_0 | LL_GPIO_PIN_1 | LL_GPIO_PIN_2);
				LL_TIM_CC_DisableChannel(TIM3, LL_TIM_CHANNEL_CH4);
			}
		}

		Is_iBus_Received(); //Refreshes iBus Data for iBus.SwC
		HAL_Delay(100);
	}

	//Ends the loop when iBus.SwC is not mid point
	//Turn the LED and buzzer off
	LL_GPIO_ResetOutputPin(GPIOC, LL_GPIO_PIN_0 | LL_GPIO_PIN_1 | LL_GPIO_PIN_2);
	LL_TIM_CC_DisableChannel(TIM3, LL_TIM_CHANNEL_CH4);

	//Saves the current dynamic calibration data (DCD) to memory
	//Sends command to get the latest calibration status
	BNO080_saveCalibration();
	BNO080_requestCalibrationStatus();

	//Wait for calibration response, timeout if no response
	int counter = 100;
	while(1)
	{
		if(--counter == 0) break;
		if(BNO080_dataAvailable())
		{
			//The IMU can report many different things. We must wait
			//for the ME Calibration Response Status byte to go to zero
			if(BNO080_calibrationComplete() == 1)
			{
				printf("\nCalibration data successfully stored\n");
				LL_TIM_CC_EnableChannel(TIM3, LL_TIM_CHANNEL_CH4);
				TIM3->PSC = 2000;
				HAL_Delay(300);
				TIM3->PSC = 1500;
				HAL_Delay(300);
				LL_TIM_CC_DisableChannel(TIM3, LL_TIM_CHANNEL_CH4);
				HAL_Delay(1000);
				break;
			}
		}
		HAL_Delay(10);
	}
	if(counter == 0)
	{
		printf("\nCalibration data failed to store. Please try again.\n");
		LL_TIM_CC_EnableChannel(TIM3, LL_TIM_CHANNEL_CH4);
		TIM3->PSC = 1500;
		HAL_Delay(300);
		TIM3->PSC = 2000;
		HAL_Delay(300);
		LL_TIM_CC_DisableChannel(TIM3, LL_TIM_CHANNEL_CH4);
		HAL_Delay(1000);
	}

	//BNO080_endCalibration(); //Turns off all calibration
	//In general, calibration should be left on at all times. The BNO080
	//auto-calibrates and auto-records cal data roughly every 5 minutes

	//Resets BNO080 to disable Game Rotation Vector and Magnetometer
	//Enables Rotation Vector
	BNO080_Initialization();
	BNO080_enableRotationVector(2500); //Send data update every 2.5ms (400Hz)
}

//telemetry
void HAL_UART_RxCpltCallback(UART_HandleTypeDef *huart)
{
	static unsigned char cnt = 0;

	if(huart->Instance == USART1)
	{
		HAL_UART_Receive_IT(&huart1, &uart1_rx_data, 1);
		//HAL_UART_Transmit_IT(&huart1, &uart1_rx_data, 1);

		switch(cnt)
		{
		case 0:
			if(uart1_rx_data == 0x47)
			{
				telemetry_rx_buf[cnt] = uart1_rx_data;
				cnt++;
			}
			break;
		case 1:
			if(uart1_rx_data == 0x53)
			{
				telemetry_rx_buf[cnt] = uart1_rx_data;
				cnt++;
			}
			else
				cnt = 0;
			break;
		case 19:
			telemetry_rx_buf[cnt] = uart1_rx_data;
			cnt = 0;
			telemetry_rx_cplt_flag = 1;
			break;
		default:
			telemetry_rx_buf[cnt] = uart1_rx_data;
			cnt++;
			break;
		}
	}
}

void Encode_Msg_AHRS(unsigned char* telemetry_tx_buf)
{
	  //PID control
	  telemetry_tx_buf[0] = 0x46;
	  telemetry_tx_buf[1] = 0x43;

	  // AHRS data ID 0x10
	  telemetry_tx_buf[2] = 0x10;

	  telemetry_tx_buf[3] = (short)(BNO080_Roll*100); //LSB STORE
	  telemetry_tx_buf[4] = ((short)(BNO080_Roll*100))>>8; //MSB STORE (8BIT RIGHT SHIFT)

	  telemetry_tx_buf[5] = (short)(BNO080_Pitch*100);
	  telemetry_tx_buf[6] = ((short)(BNO080_Pitch*100))>>8;
//	  telemetry_tx_buf[5] = (short)(ICM20602.gyro_x*100);
//	  telemetry_tx_buf[6] = ((short)(ICM20602.gyro_x*100))>>8;

	  telemetry_tx_buf[7] = (unsigned short)(BNO080_Yaw*100);
	  telemetry_tx_buf[8] = ((unsigned short)(BNO080_Yaw*100))>>8;

	  //altitude air pressure sensor
	  telemetry_tx_buf[9] = (short)(LPS22HH.baroAltFilt*10);
	  telemetry_tx_buf[10] = ((short)(LPS22HH.baroAltFilt*10))>>8;

	  //iBus FLYSKY CONTROLLing machine

	  //ROLL TARGET
	  telemetry_tx_buf[11] = (short)((iBus.RH-1500)*0.1f*100); // min -50 ~ max +50 //LSB
	  telemetry_tx_buf[12] = ((short)((iBus.RH-1500)*0.1f*100))>>8; //MSB

	  //PITCH TARGET
	  telemetry_tx_buf[13] = (short)((iBus.RV-1500)*0.1f*100); // min -50 ~ max +50 //LSB
	  telemetry_tx_buf[14] = ((short)((iBus.RV-1500)*0.1f*100))>>8; //MSB

	  //YAW TARGET
	  telemetry_tx_buf[15] = (unsigned short)((iBus.LH-1000)*0.36f*100); // min 0~ max360 (angle) //LSB
	  telemetry_tx_buf[16] = ((unsigned short)((iBus.LH-1000)*0.36f*100))>>8; //MSB

	  //altitude TARGET (UNUSED)
	  telemetry_tx_buf[17] = (short)(iBus.LV*10);
	  telemetry_tx_buf[18] = ((short)(iBus.LV*10))>>8;

	  //Checksum
	  telemetry_tx_buf[19] = 0xff;

	  for(int i=0;i<19;i++) telemetry_tx_buf[19] = telemetry_tx_buf[19] - telemetry_tx_buf[i];
}

void Encode_Msg_GPS(unsigned char* telemetry_tx_buf)
{
	  telemetry_tx_buf[0] = 0x46;
	  telemetry_tx_buf[1] = 0x43;

	  // GPS data ID 0x11
	  telemetry_tx_buf[2] = 0x11;

	  // latitude of GPS
	  telemetry_tx_buf[3] = posllh.lat;
	  telemetry_tx_buf[4] = posllh.lat>>8;
	  telemetry_tx_buf[5] = posllh.lat>>16;
	  telemetry_tx_buf[6] = posllh.lat>>24;

	  // longitude of GPS
	  telemetry_tx_buf[7] = posllh.lon;
	  telemetry_tx_buf[8] = posllh.lon>>8;
	  telemetry_tx_buf[9] = posllh.lon>>16;
	  telemetry_tx_buf[10] = posllh.lon>>24;

	  //battery voltage information
	  telemetry_tx_buf[11] = (unsigned short)(batVolt*100);
	  telemetry_tx_buf[12] = ((unsigned short)(batVolt*100))>>8;

	  //iBus SwA SwC information (up/down)
	  telemetry_tx_buf[13] = iBus.SwA == 1000 ? 0 : 1;
	  telemetry_tx_buf[14] = iBus.SwC == 1000 ? 0 : iBus.SwC == 1500 ? 1 : 2;

	  telemetry_tx_buf[15] = failsafe_flag;

	  //UNUSED
	  telemetry_tx_buf[16] = 0x00;
	  telemetry_tx_buf[17] = 0x00;
	  telemetry_tx_buf[18] = 0x00;

	  //Checksum
	  telemetry_tx_buf[19] = 0xff;

	  for(int i=0;i<19;i++) telemetry_tx_buf[19] = telemetry_tx_buf[19] - telemetry_tx_buf[i];
}

void Encode_Msg_PID_Gain(unsigned char* telemetry_tx_buf, unsigned char id, float p, float i, float d)
{
	telemetry_tx_buf[0] = 0x46;
	telemetry_tx_buf[1] = 0x43;

	// GPS data ID 0x11
	telemetry_tx_buf[2] = id;

//	memcpy(%telemetry_tx_buf[3], &p, 4);
//	memcpy(%telemetry_tx_buf[7], &i, 4);
//	memcpy(%telemetry_tx_buf[11], &d, 4);

	*(float*)&telemetry_tx_buf[3] = p;
	*(float*)&telemetry_tx_buf[7] = i;
	*(float*)&telemetry_tx_buf[11] = d;

	//UNUSED
	telemetry_tx_buf[15] = 0x00;
	telemetry_tx_buf[16] = 0x00;
	telemetry_tx_buf[17] = 0x00;
	telemetry_tx_buf[18] = 0x00;

	//Checksum
	telemetry_tx_buf[19] = 0xff;

	for(int i=0;i<19;i++) telemetry_tx_buf[19] = telemetry_tx_buf[19] - telemetry_tx_buf[i];
}
/* USER CODE END 4 */

void Error_Handler(void)
{
  __disable_irq();
  while (1)
  {
  }
}
